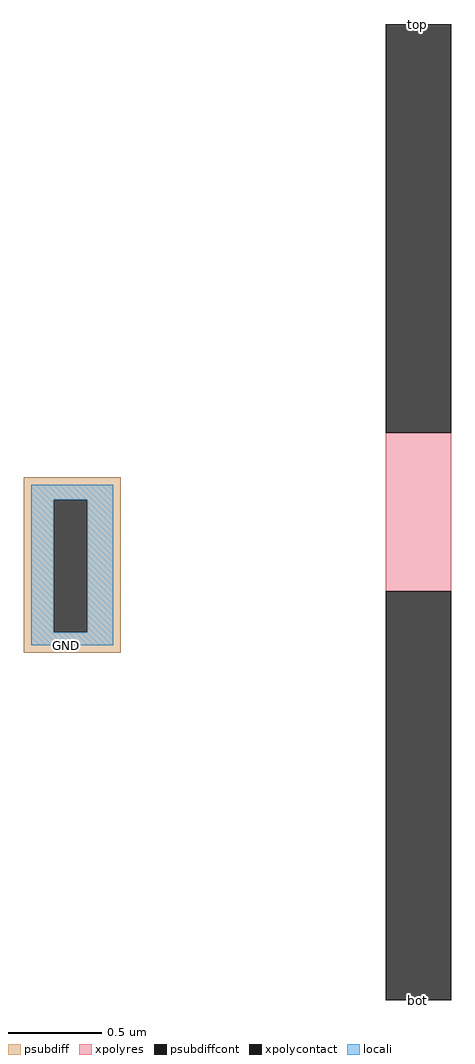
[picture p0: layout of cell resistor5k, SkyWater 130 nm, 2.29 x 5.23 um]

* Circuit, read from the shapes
.subckt resistor5k GND bot top
XR1 top bot GND sky130_fd_pr__res_xhigh_po w=0.35 l=0.85
.ends

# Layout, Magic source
magic
tech sky130A
<< psubdiff >>
rect -194 49 -142 61
rect -194 -22 -178 49
rect -160 -22 -142 49
rect -194 -33 -142 -22
<< psubdiffcont >>
rect -178 -22 -160 49
<< xpolycontact >>
rect 0 85 35 304
rect 0 -219 35 0
<< xpolyres >>
rect 0 0 35 85
<< locali >>
rect -190 49 -146 57
rect -190 -22 -178 49
rect -160 -22 -146 49
rect -190 -29 -146 -22
<< labels >>
rlabel xpolycontact 17 304 17 304 1 top
rlabel xpolycontact 17 -219 17 -219 5 bot
rlabel locali -171 -29 -171 -29 5 GND
<< end >>
